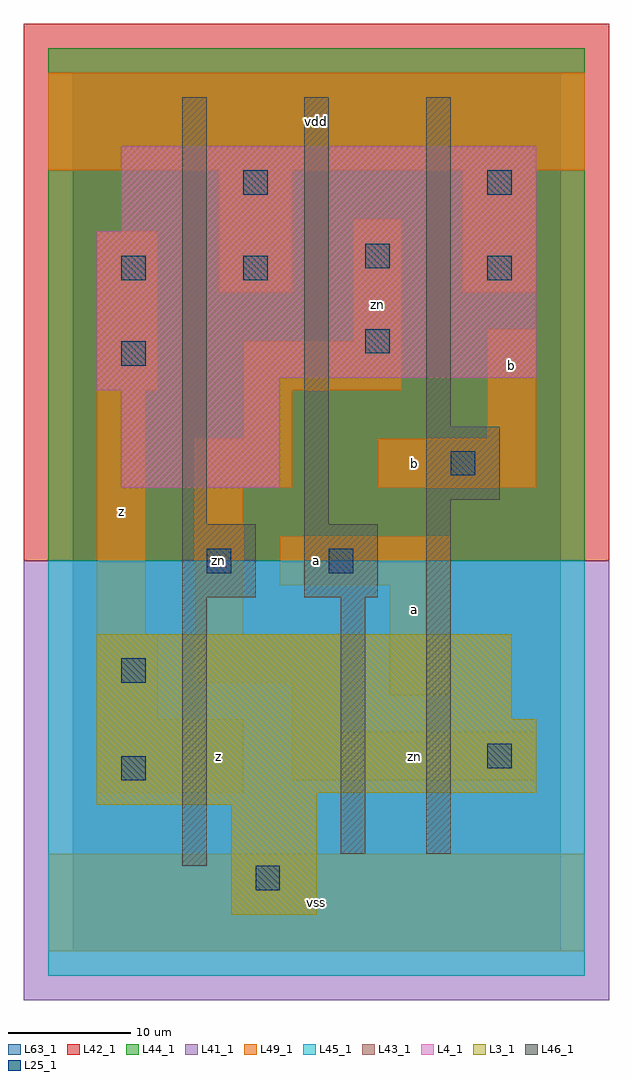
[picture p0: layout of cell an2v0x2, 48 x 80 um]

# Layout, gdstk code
import gdstk
lib = gdstk.Library(unit=1e-6, precision=1e-09)
def R(c, l, rs):  # rectangles x0, y0, x1, y1
    for r in rs: c.add(gdstk.rectangle(r[:2], r[2:], *l))
L3_1 = (3, 1)
L4_1 = (4, 1)
L25_1 = (25, 1)
L41_1 = (41, 1)
L42_1 = (42, 1)
L43_1 = (43, 1)
L44_1 = (44, 1)
L45_1 = (45, 1)
L46_1 = (46, 1)
L49_1 = (49, 1)
L63_1 = (63, 1)

an2v0x2 = lib.new_cell('an2v0x2')
R(an2v0x2, L3_1, [(13,3,20,12), (2,12,20,13), (2,13,38,19), (2,19,36,26)])
R(an2v0x2, L4_1, [(4,38,17,46), (2,46,17,47), (2,47,38,59), (4,59,38,66)])
R(an2v0x2, L25_1, [(15,5,17,7), (4,14,6,16), (34,15,36,17), (4,22,6,24), (11,31,13,33), (21,31,23,33), (31,39,33,41), (4,48,6,50), (24,49,26,51), (4,55,6,57), (14,55,16,57), (34,55,36,57), (24,56,26,58), (14,62,16,64), (34,62,36,64)])
R(an2v0x2, L41_1, [(-4,-4,44,32)])
R(an2v0x2, L42_1, [(-4,32,44,76)])
R(an2v0x2, L43_1, [(13,3,20,12), (2,12,20,13), (2,13,38,19), (2,19,36,26), (4,38,17,46), (2,46,17,47), (2,47,38,59), (4,59,38,66)])
R(an2v0x2, L44_1, [(-2,32,42,74)])
R(an2v0x2, L45_1, [(-2,-2,42,32)])
R(an2v0x2, L46_1, [(9,7,11,29), (22,8,24,29), (29,8,31,37), (9,29,15,35), (19,29,25,35), (9,35,11,70), (19,35,21,70), (29,37,35,43), (29,43,31,70)])
R(an2v0x2, L49_1, [(-2,0,42,8), (2,13,14,19), (18,14,38,18), (18,18,22,22), (2,19,7,26), (26,21,31,30), (10,22,22,26), (2,26,6,46), (10,26,14,38), (17,30,31,34), (10,38,18,42), (25,38,38,42), (14,42,18,46), (34,42,38,51), (2,46,7,59), (14,46,27,50), (23,50,27,60), (12,54,18,64), (32,54,38,64), (-2,64,42,72)])
R(an2v0x2, L63_1, [(0,0,40,72)])
an2v0x2.add(gdstk.Label('zn', (12,32), layer=49, texttype=1))
an2v0x2.add(gdstk.Label('z', (4,36), layer=49, texttype=1))
an2v0x2.add(gdstk.Label('z', (12,16), layer=49, texttype=1))
an2v0x2.add(gdstk.Label('zn', (12,32), layer=49, texttype=1))
an2v0x2.add(gdstk.Label('vss', (20,4), layer=49, texttype=1))
an2v0x2.add(gdstk.Label('a', (20,32), layer=49, texttype=1))
an2v0x2.add(gdstk.Label('a', (28,28), layer=49, texttype=1))
an2v0x2.add(gdstk.Label('b', (28,40), layer=49, texttype=1))
an2v0x2.add(gdstk.Label('zn', (25,53), layer=49, texttype=1))
an2v0x2.add(gdstk.Label('vdd', (20,68), layer=49, texttype=1))
an2v0x2.add(gdstk.Label('zn', (28,16), layer=49, texttype=1))
an2v0x2.add(gdstk.Label('b', (36,48), layer=49, texttype=1))

lib.write_gds('an2v0x2.gds')
